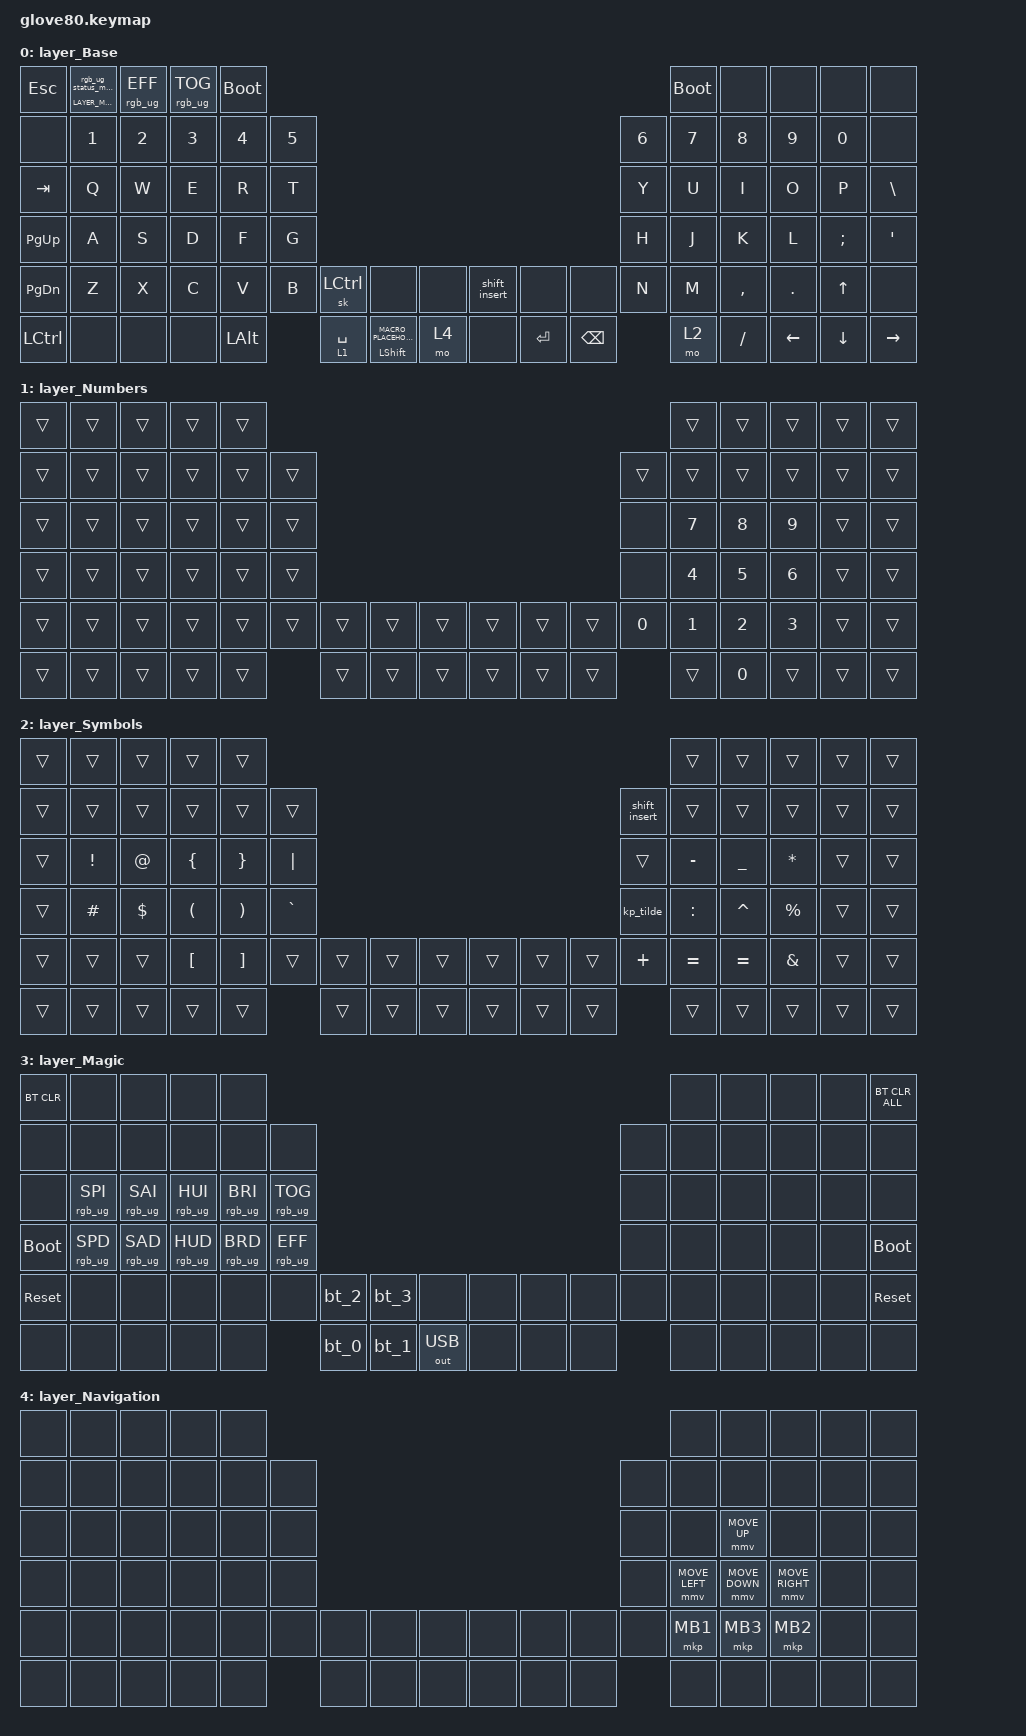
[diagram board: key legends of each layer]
/*
 * Copyright (c) 2020 The ZMK Contributors
 * Copyright (c) 2025 Innaworks Development Limited, trading as MoErgo
 *
 * SPDX-License-Identifier: MIT
 */


/* THIS FILE WAS GENERATED BY GLOVE80 LAYOUT EDITOR
 *
 * This file was generated automatically. You may or may not want to
 * edit it directly.
 */

#include <behaviors.dtsi>
/* Include all behavior includes needed */
#include <dt-bindings/zmk/outputs.h>
#include <dt-bindings/zmk/keys.h>
#include <dt-bindings/zmk/bt.h>
#include <dt-bindings/zmk/rgb.h>

/* On demand includes */
#include <dt-bindings/zmk/pointing.h>

/* Helper Macros, based on https://github.com/urob/zmk-helpers/ */

#pragma once

#define ZMK_HELPER_STRINGIFY(x) #x

// Preprocessor mechanism to overload macros, cf. https://stackoverflow.com/a/27051616/6114651
#define VARGS_(_10, _9, _8, _7, _6, _5, _4, _3, _2, _1, N, ...) N
#define VARGS(...) VARGS_(__VA_ARGS__, 10, 9, 8, 7, 6, 5, 4, 3, 2, 1, 0)
#define CONCAT_(a, b) a##b
#define CONCAT(a, b) CONCAT_(a, b)

#define ZMK_BEHAVIOR_CORE_tap_dance  \
    compatible = "zmk,behavior-tap-dance"; \
    #binding-cells = <0>

#define ZMK_BEHAVIOR(name, type, ...) \
    name: name { \
        ZMK_BEHAVIOR_CORE_ ## type; \
        __VA_ARGS__ \
    };

#define ZMK_TAP_DANCE(name, ...) \
    ZMK_BEHAVIOR(name, tap_dance, __VA_ARGS__)

#define ZMK_TD_LAYER(name, layer) \
    ZMK_TAP_DANCE(name, \
        tapping-term-ms = <200>; \
        bindings = <&mo layer>, <&to layer>; \
)

/* Automatically generated layer name #define */
#define LAYER_Base 0
#define LAYER_Numbers 1
#define LAYER_Symbols 2
#define LAYER_Magic 3
#define LAYER_Navigation 4

/* To deal with the situation where there is no Lower layer, to keep &lower happy */
#ifndef LAYER_Lower
#define LAYER_Lower 0
#endif

/* Custom Device-tree */
/* No color */
#define ___ 0x000000
/* Primary */
#define CL1 0x00acff
/* Secondary */
#define CL2 0x00ff00
/* Arrows */
#define CL3 0x800080
/* Highlighted primary */
#define CL4 0x55aaff
/* Neutral color */
#define CL5 0xffffff

/* Custom Device-tree */
/ {
    underglow-layer {
        compatible  = "zmk,underglow-layer";

        base {
            bindings = <
                &ug CL5 &ug ___ &ug ___ &ug ___ &ug ___                                                                  &ug ___ &ug ___ &ug ___ &ug ___ &ug ___
                &ug ___ &ug CL2 &ug CL2 &ug CL2 &ug CL2 &ug CL2                                                  &ug CL2 &ug CL2 &ug CL2 &ug CL2 &ug CL2 &ug ___
                &ug CL5 &ug CL1 &ug CL1 &ug CL1 &ug CL1 &ug CL1                                                  &ug CL1 &ug CL1 &ug CL1 &ug CL1 &ug CL1 &ug CL5
                &ug CL5 &ug CL1 &ug CL1 &ug CL1 &ug CL1 &ug CL1                                                  &ug CL1 &ug CL1 &ug CL1 &ug CL1 &ug CL5 &ug CL5
                &ug CL5 &ug CL1 &ug CL1 &ug CL1 &ug CL1 &ug CL1 &ug ___ &ug ___ &ug ___  &ug ___ &ug ___ &ug ___ &ug CL1 &ug CL1 &ug CL5 &ug CL5 &ug CL3 &ug ___
                &ug CL5 &ug ___ &ug ___ &ug ___ &ug CL5         &ug CL5 &ug CL5 &ug ___  &ug ___ &ug CL5 &ug CL5         &ug ___ &ug CL5 &ug CL3 &ug CL3 &ug CL3
                >;
            layer-id = <LAYER_Base>;
        };

        symbols {
            bindings = <
                &ug ___ &ug ___ &ug ___ &ug ___ &ug ___                                                                  &ug ___ &ug ___ &ug ___ &ug ___ &ug ___
                &ug ___ &ug ___ &ug ___ &ug ___ &ug ___ &ug ___                                                  &ug ___ &ug ___ &ug ___ &ug ___ &ug ___ &ug ___
                &ug ___ &ug CL1 &ug CL1 &ug CL4 &ug CL4 &ug CL1                                                  &ug ___ &ug CL1 &ug CL1 &ug CL1 &ug ___ &ug ___
                &ug ___ &ug CL1 &ug CL1 &ug CL4 &ug CL4 &ug CL1                                                  &ug CL1 &ug CL1 &ug CL1 &ug CL1 &ug ___ &ug ___
                &ug ___ &ug ___ &ug ___ &ug CL4 &ug CL4 &ug ___ &ug ___ &ug ___ &ug ___  &ug ___ &ug ___ &ug ___ &ug CL1 &ug CL1 &ug CL1 &ug CL1 &ug ___ &ug ___
                &ug ___ &ug ___ &ug ___ &ug ___ &ug ___         &ug ___ &ug ___ &ug ___  &ug ___ &ug ___ &ug ___         &ug ___ &ug ___ &ug ___ &ug ___ &ug ___
                >;
            layer-id = <LAYER_Symbols>;
        };

        numbers {
            bindings = <
                &ug ___ &ug ___ &ug ___ &ug ___ &ug ___                                                                  &ug ___ &ug ___ &ug ___ &ug ___ &ug ___
                &ug ___ &ug ___ &ug ___ &ug ___ &ug ___ &ug ___                                                  &ug ___ &ug ___ &ug ___ &ug ___ &ug ___ &ug ___
                &ug ___ &ug ___ &ug ___ &ug ___ &ug ___ &ug ___                                                  &ug CL2 &ug CL1 &ug CL1 &ug CL1 &ug ___ &ug ___
                &ug ___ &ug ___ &ug ___ &ug ___ &ug ___ &ug ___                                                  &ug CL2 &ug CL1 &ug CL1 &ug CL1 &ug ___ &ug ___
                &ug ___ &ug ___ &ug ___ &ug ___ &ug ___ &ug ___ &ug ___ &ug ___ &ug ___  &ug ___ &ug ___ &ug ___ &ug CL2 &ug CL1 &ug CL1 &ug CL1 &ug ___ &ug ___
                &ug ___ &ug ___ &ug ___ &ug ___ &ug ___         &ug ___ &ug ___ &ug ___  &ug ___ &ug ___ &ug ___         &ug ___ &ug CL1 &ug ___ &ug ___ &ug ___
                >;
            layer-id = <LAYER_Numbers>;
        };

        navigation {
            bindings = <
                &ug ___ &ug ___ &ug ___ &ug ___ &ug ___                                                                  &ug ___ &ug ___ &ug ___ &ug ___ &ug ___
                &ug ___ &ug ___ &ug ___ &ug ___ &ug ___ &ug ___                                                  &ug ___ &ug ___ &ug ___ &ug ___ &ug ___ &ug ___
                &ug ___ &ug ___ &ug ___ &ug ___ &ug ___ &ug ___                                                  &ug ___ &ug ___ &ug CL3 &ug ___ &ug ___ &ug ___
                &ug ___ &ug ___ &ug ___ &ug ___ &ug ___ &ug ___                                                  &ug ___ &ug CL3 &ug CL3 &ug CL3 &ug ___ &ug ___
                &ug ___ &ug ___ &ug ___ &ug ___ &ug ___ &ug ___ &ug ___ &ug ___ &ug ___  &ug ___ &ug ___ &ug ___ &ug ___ &ug CL1 &ug CL1 &ug CL1 &ug ___ &ug ___
                &ug ___ &ug ___ &ug ___ &ug ___ &ug ___         &ug ___ &ug ___ &ug ___  &ug ___ &ug ___ &ug ___         &ug ___ &ug ___ &ug ___ &ug ___ &ug ___
                >;
            layer-id = <LAYER_Navigation>;
        };
  };
};

/* Input Listeners */


/* System behavior and Macros */
/ {
    behaviors {
        ZMK_TD_LAYER(lower, LAYER_Lower)
    };
};

/ {
    macros {
        rgb_ug_status_macro: rgb_ug_status_macro {
            label = "RGB_UG_STATUS";
            compatible = "zmk,behavior-macro";
            #binding-cells = <0>;
            bindings
                = <&rgb_ug RGB_STATUS>;
        };
    };
};


/ {
#ifdef BT_DISC_CMD
    behaviors {
        bt_0: bt_0 {
            compatible = "zmk,behavior-tap-dance";
            label = "BT_0";
            #binding-cells = <0>;
            tapping-term-ms = <200>;
            bindings = <&bt_select_0>, <&bt BT_DISC 0>;
        };
        bt_1: bt_1 {
            compatible = "zmk,behavior-tap-dance";
            label = "BT_1";
            #binding-cells = <0>;
            tapping-term-ms = <200>;
            bindings = <&bt_select_1>, <&bt BT_DISC 1>;
        };
        bt_2: bt_2 {
            compatible = "zmk,behavior-tap-dance";
            label = "BT_2";
            #binding-cells = <0>;
            tapping-term-ms = <200>;
            bindings = <&bt_select_2>, <&bt BT_DISC 2>;
        };
        bt_3: bt_3 {
            compatible = "zmk,behavior-tap-dance";
            label = "BT_3";
            #binding-cells = <0>;
            tapping-term-ms = <200>;
            bindings = <&bt_select_3>, <&bt BT_DISC 3>;
        };
    };
    macros {
        bt_select_0: bt_select_0 {
            label = "BT_SELECT_0";
            compatible = "zmk,behavior-macro";
            #binding-cells = <0>;
            bindings
                = <&out OUT_BLE>,
                  <&bt BT_SEL 0>;
        };
        bt_select_1: bt_select_1 {
            label = "BT_SELECT_1";
            compatible = "zmk,behavior-macro";
            #binding-cells = <0>;
            bindings
                = <&out OUT_BLE>,
                  <&bt BT_SEL 1>;
        };
        bt_select_2: bt_select_2 {
            label = "BT_SELECT_2";
            compatible = "zmk,behavior-macro";
            #binding-cells = <0>;
            bindings
                = <&out OUT_BLE>,
                  <&bt BT_SEL 2>;
        };
        bt_select_3: bt_select_3 {
            label = "BT_SELECT_3";
            compatible = "zmk,behavior-macro";
            #binding-cells = <0>;
            bindings
                = <&out OUT_BLE>,
                  <&bt BT_SEL 3>;
        };
    };
#else
    macros {
        bt_0: bt_0 {
            label = "BT_0";
            compatible = "zmk,behavior-macro";
            #binding-cells = <0>;
            bindings
                = <&out OUT_BLE>,
                  <&bt BT_SEL 0>;
        };
        bt_1: bt_1 {
            label = "BT_1";
            compatible = "zmk,behavior-macro";
            #binding-cells = <0>;
            bindings
                = <&out OUT_BLE>,
                  <&bt BT_SEL 1>;
        };
        bt_2: bt_2 {
            label = "BT_2";
            compatible = "zmk,behavior-macro";
            #binding-cells = <0>;
            bindings
                = <&out OUT_BLE>,
                  <&bt BT_SEL 2>;
        };
        bt_3: bt_3 {
            label = "BT_3";
            compatible = "zmk,behavior-macro";
            #binding-cells = <0>;
            bindings
                = <&out OUT_BLE>,
                  <&bt BT_SEL 3>;
        };
    };
#endif
};

/ {
    behaviors {
        magic: magic {
            compatible = "zmk,behavior-hold-tap";
            label = "MAGIC_HOLD_TAP";
            #binding-cells = <2>;
            flavor = "tap-preferred";
            tapping-term-ms = <200>;
            bindings = <&mo>, <&rgb_ug_status_macro>;
        };
    };
};

/* #define for key positions */
#define POS_LH_T1 52
#define POS_LH_T2 53
#define POS_LH_T3 54
#define POS_LH_T4 69
#define POS_LH_T5 70
#define POS_LH_T6 71
#define POS_LH_C1R2 15
#define POS_LH_C1R3 27
#define POS_LH_C1R4 39
#define POS_LH_C1R5 51
#define POS_LH_C2R1 4
#define POS_LH_C2R2 14
#define POS_LH_C2R3 26
#define POS_LH_C2R4 38
#define POS_LH_C2R5 50
#define POS_LH_C2R6 68
#define POS_LH_C3R1 3
#define POS_LH_C3R2 13
#define POS_LH_C3R3 25
#define POS_LH_C3R4 37
#define POS_LH_C3R5 49
#define POS_LH_C3R6 67
#define POS_LH_C4R1 2
#define POS_LH_C4R2 12
#define POS_LH_C4R3 24
#define POS_LH_C4R4 36
#define POS_LH_C4R5 48
#define POS_LH_C4R6 66
#define POS_LH_C5R1 1
#define POS_LH_C5R2 11
#define POS_LH_C5R3 23
#define POS_LH_C5R4 35
#define POS_LH_C5R5 47
#define POS_LH_C5R6 65
#define POS_LH_C6R1 0
#define POS_LH_C6R2 10
#define POS_LH_C6R3 22
#define POS_LH_C6R4 34
#define POS_LH_C6R5 46
#define POS_LH_C6R6 64
#define POS_RH_T1 57
#define POS_RH_T2 56
#define POS_RH_T3 55
#define POS_RH_T4 74
#define POS_RH_T5 73
#define POS_RH_T6 72
#define POS_RH_C1R2 16
#define POS_RH_C1R3 28
#define POS_RH_C1R4 40
#define POS_RH_C1R5 58
#define POS_RH_C2R1 5
#define POS_RH_C2R2 17
#define POS_RH_C2R3 29
#define POS_RH_C2R4 41
#define POS_RH_C2R5 59
#define POS_RH_C2R6 75
#define POS_RH_C3R1 6
#define POS_RH_C3R2 18
#define POS_RH_C3R3 30
#define POS_RH_C3R4 42
#define POS_RH_C3R5 60
#define POS_RH_C3R6 76
#define POS_RH_C4R1 7
#define POS_RH_C4R2 19
#define POS_RH_C4R3 31
#define POS_RH_C4R4 43
#define POS_RH_C4R5 61
#define POS_RH_C4R6 77
#define POS_RH_C5R1 8
#define POS_RH_C5R2 20
#define POS_RH_C5R3 32
#define POS_RH_C5R4 44
#define POS_RH_C5R5 62
#define POS_RH_C5R6 78
#define POS_RH_C6R1 9
#define POS_RH_C6R2 21
#define POS_RH_C6R3 33
#define POS_RH_C6R4 45
#define POS_RH_C6R5 63
#define POS_RH_C6R6 79

/* Custom Defined Behaviors */
/ {

};

/* Automatically generated macro definitions */
/ {
    macros {

        ctrl_c: ctrl_c {
            label = "&CTRL_C";
            compatible = "zmk,behavior-macro";
            #binding-cells = <0>;
            bindings = <&macro_press>
                , <&kp LCTRL>
                , <&macro_tap>
                , <&kp C>
                , <&macro_release>
                , <&kp LCTRL>;
        };

        ctrl_v: ctrl_v {
            label = "&CTRL_V";
            compatible = "zmk,behavior-macro";
            #binding-cells = <0>;
            bindings = <&macro_press>
                , <&kp LCTRL>
                , <&macro_tap>
                , <&kp V>
                , <&macro_release>
                , <&kp LCTRL>;
        };

        shift_insert: shift_insert {
            label = "&SHIFT_INSERT";
            compatible = "zmk,behavior-macro";
            #binding-cells = <0>;
            bindings = <&macro_press>
                , <&kp LSHFT>
                , <&macro_tap>
                , <&kp INS>
                , <&macro_release>
                , <&kp LSHFT>;
        };

        kp_tilde: kp_tilde {
            label = "&KP_TILDE";
            compatible = "zmk,behavior-macro";
            #binding-cells = <0>;
            bindings = <&macro_press>
                , <&kp LSHFT>
                , <&macro_tap>
                , <&kp GRAVE>
                , <&macro_release>
                , <&kp LSHFT>;
        };
    };
};

/* Automatically generated behavior definitions */
/ {
    behaviors {


        mt_key_capsword: mt_key_capsword {
            compatible = "zmk,behavior-hold-tap";
            #binding-cells = <2>;
            tapping-term-ms = <200>;
            bindings = <&kp>, <&caps_word>;
        };

        lt_symbols: lt_symbols {
            compatible = "zmk,behavior-hold-tap";
            #binding-cells = <2>;
            tapping-term-ms = <80>;
            bindings = <&kp>, <&kp>;
            flavor = "tap-preferred";
            quick-tap-ms = <150>;
            retro-tap;
            hold-while-undecided-linger;
        };
    };
};

/* Automatically generated combos definitions */


/* Automatically generated keymap */
/ {
    keymap {
        compatible = "zmk,keymap";


        layer_Base {
            bindings = <
   &kp ESC  &magic LAYER_Magic 0  &rgb_ug RGB_EFF  &rgb_ug RGB_TOG  &bootloader                                                                                                                   &bootloader      &none     &none     &none      &none
     &none                &kp N1           &kp N2           &kp N3       &kp N4  &kp N5                                                                                                   &kp N6       &kp N7     &kp N8    &kp N9    &kp N0      &none
   &kp TAB                 &kp Q            &kp W            &kp E        &kp R   &kp T                                                                                                    &kp Y        &kp U      &kp I     &kp O     &kp P   &kp BSLH
 &kp PG_UP                 &kp A            &kp S            &kp D        &kp F   &kp G                                                                                                    &kp H        &kp J      &kp K     &kp L  &kp SEMI    &kp SQT
 &kp PG_DN                 &kp Z            &kp X            &kp C        &kp V   &kp B    &sk LCTRL                                     &none   &none  &shift_insert    &none     &none   &kp N        &kp M  &kp COMMA   &kp DOT    &kp UP      &none
 &kp LCTRL                 &none            &none            &none     &kp LALT          &lt 1 SPACE  &mt_key_capsword LSHFT MACRO_PLACEHOLDER   &mo 4          &none  &kp RET  &kp BSPC                &mo 2   &kp FSLH  &kp LEFT  &kp DOWN  &kp RIGHT
            >;
        };

        layer_Numbers {
            bindings = <
 &trans  &trans  &trans  &trans  &trans                                                                  &trans  &trans  &trans  &trans  &trans
 &trans  &trans  &trans  &trans  &trans  &trans                                                  &trans  &trans  &trans  &trans  &trans  &trans
 &trans  &trans  &trans  &trans  &trans  &trans                                                   &none  &kp N7  &kp N8  &kp N9  &trans  &trans
 &trans  &trans  &trans  &trans  &trans  &trans                                                   &none  &kp N4  &kp N5  &kp N6  &trans  &trans
 &trans  &trans  &trans  &trans  &trans  &trans  &trans  &trans  &trans  &trans  &trans  &trans  &kp N0  &kp N1  &kp N2  &kp N3  &trans  &trans
 &trans  &trans  &trans  &trans  &trans          &trans  &trans  &trans  &trans  &trans  &trans          &trans  &kp N0  &trans  &trans  &trans
            >;
        };

        layer_Symbols {
            bindings = <
 &trans    &trans    &trans    &trans    &trans                                                                               &trans     &trans     &trans  &trans  &trans
 &trans    &trans    &trans    &trans    &trans     &trans                                                  &shift_insert     &trans     &trans     &trans  &trans  &trans
 &trans  &kp EXCL    &kp AT  &kp LBRC  &kp RBRC   &kp PIPE                                                         &trans  &kp MINUS  &kp UNDER   &kp STAR  &trans  &trans
 &trans  &kp HASH  &kp DLLR  &kp LPAR  &kp RPAR  &kp GRAVE                                                      &kp_tilde  &kp COLON  &kp CARET  &kp PRCNT  &trans  &trans
 &trans    &trans    &trans  &kp LBKT  &kp RBKT     &trans  &trans  &trans  &trans  &trans  &trans  &trans       &kp PLUS  &kp EQUAL  &kp EQUAL   &kp AMPS  &trans  &trans
 &trans    &trans    &trans    &trans    &trans             &trans  &trans  &trans  &trans  &trans  &trans                    &trans     &trans     &trans  &trans  &trans
            >;
        };

        layer_Magic {
            bindings = <
  &bt BT_CLR            &none            &none            &none            &none                                                                                  &none   &none   &none   &none  &bt BT_CLR_ALL
       &none            &none            &none            &none            &none            &none                                                         &none   &none   &none   &none   &none           &none
       &none  &rgb_ug RGB_SPI  &rgb_ug RGB_SAI  &rgb_ug RGB_HUI  &rgb_ug RGB_BRI  &rgb_ug RGB_TOG                                                         &none   &none   &none   &none   &none           &none
 &bootloader  &rgb_ug RGB_SPD  &rgb_ug RGB_SAD  &rgb_ug RGB_HUD  &rgb_ug RGB_BRD  &rgb_ug RGB_EFF                                                         &none   &none   &none   &none   &none     &bootloader
  &sys_reset            &none            &none            &none            &none            &none   &bt_2   &bt_3         &none   &none   &none   &none   &none   &none   &none   &none   &none      &sys_reset
       &none            &none            &none            &none            &none                    &bt_0   &bt_1  &out OUT_USB   &none   &none   &none           &none   &none   &none   &none           &none
            >;
        };

        layer_Navigation {
            bindings = <
  &none   &none   &none   &none   &none                                                                           &none           &none            &none   &none   &none
  &none   &none   &none   &none   &none   &none                                                   &none           &none           &none            &none   &none   &none
  &none   &none   &none   &none   &none   &none                                                   &none           &none    &mmv MOVE_UP            &none   &none   &none
  &none   &none   &none   &none   &none   &none                                                   &none  &mmv MOVE_LEFT  &mmv MOVE_DOWN  &mmv MOVE_RIGHT   &none   &none
  &none   &none   &none   &none   &none   &none   &none   &none   &none   &none   &none   &none   &none        &mkp MB1        &mkp MB3         &mkp MB2   &none   &none
  &none   &none   &none   &none   &none           &none   &none   &none   &none   &none   &none                   &none           &none            &none   &none   &none
            >;
        };

    };
};
